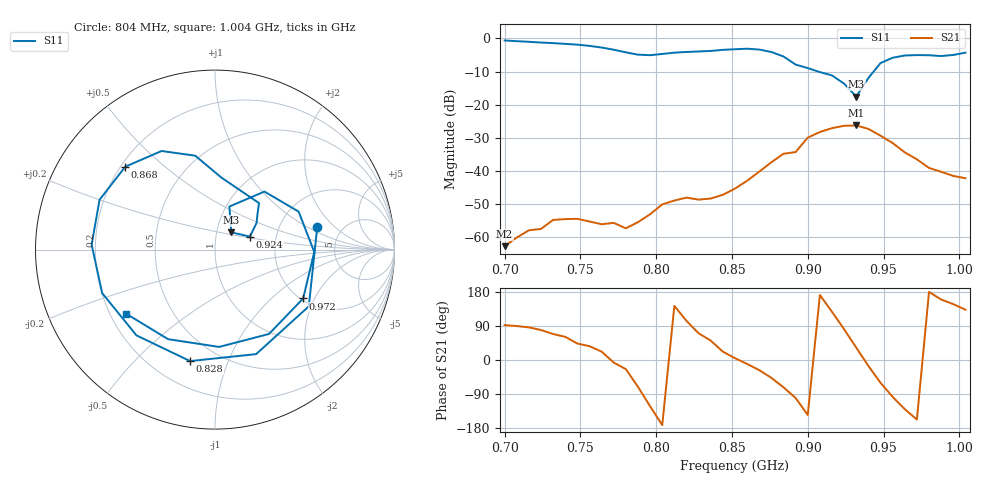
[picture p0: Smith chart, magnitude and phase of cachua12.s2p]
# Hz S RI R 50
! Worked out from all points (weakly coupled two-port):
!   39 points, 700 MHz to 1.004 GHz, reference 50 ohm
!   highest |S21| = -26.31 dB at 932 MHz (marker M1); lowest = -62.8 dB at 700 MHz (marker M2)
!   lowest |S11| = -17.6 dB at 932 MHz (marker M3), VSWR 1.30, Z = 58.8 + j11.5 ohm
!   |S11| at or under -10 dB: 906.9 MHz to 943.4 MHz (36.52 MHz wide, 3.95 % of centre)
!   S12 and S22 are empty: the file has one direction only
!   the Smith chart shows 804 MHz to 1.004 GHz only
!   S11 on the Smith chart (normalised r, x): 804 MHz: 3.28, +1.25; 828 MHz: 0.35, -0.74; 868 MHz: 0.22, +0.37; 924 MHz: 1.46, +0.22; 972 MHz: 2.06, -1.63; 1.004 GHz: 0.27, -0.30
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7e8  0.77 0.5285  -2.67e-05 0.000723  0 0  0 0
7.24e8  0.8295 -0.2591  0.000248 0.0013  0 0  0 0
7.4e8  0.4416 -0.7019  0.000897 0.00163  0 0  0 0
7.56e8  -0.2016 -0.7466  0.00137 0.00101  0 0  0 0
7.72e8  -0.6531 -0.1774  0.00162 -0.000192  0 0  0 0
7.8e8  -0.5692 0.2384  0.00123 -0.000551  0 0  0 0
7.88e8  -0.2081 0.5301  0.000548 -0.00158  0 0  0 0
7.96e8  0.2731 0.4879  -0.00117 -0.00186  0 0  0 0
8.04e8  0.5696 0.1254  -0.00307 -0.000447  0 0  0 0
8.2e8  0.2292 -0.5824  -0.000891 0.00382  0 0  0 0
8.28e8  -0.139 -0.6211  0.00122 0.00345  0 0  0 0
8.52e8  -0.6872 0.0277  0.00536 0.000445  0 0  0 0
8.68e8  -0.5001 0.4617  0.00866 -0.00437  0 0  0 0
8.84e8  -0.1099 0.5232  0.00555 -0.0172  0 0  0 0
9.08e8  0.237 0.2004  -0.0381 0.00564  0 0  0 0
9.24e8  0.1947 0.0726  0.0074 0.0473  0 0  0 0
9.32e8  0.0908 0.0962  0.0407 0.026  0 0  0 0
9.48e8  0.2757 0.3233  0.0169 -0.0294  0 0  0 0
9.56e8  0.4659 0.2115  -0.00333 -0.026  0 0  0 0
9.72e8  0.4911 -0.2723  -0.0137 -0.00576  0 0  0 0
9.88e8  0.0229 -0.5423  -0.00904 0.00336  0 0  0 0
1.004e9  -0.4951 -0.3572  -0.00524 0.00565  0 0  0 0
